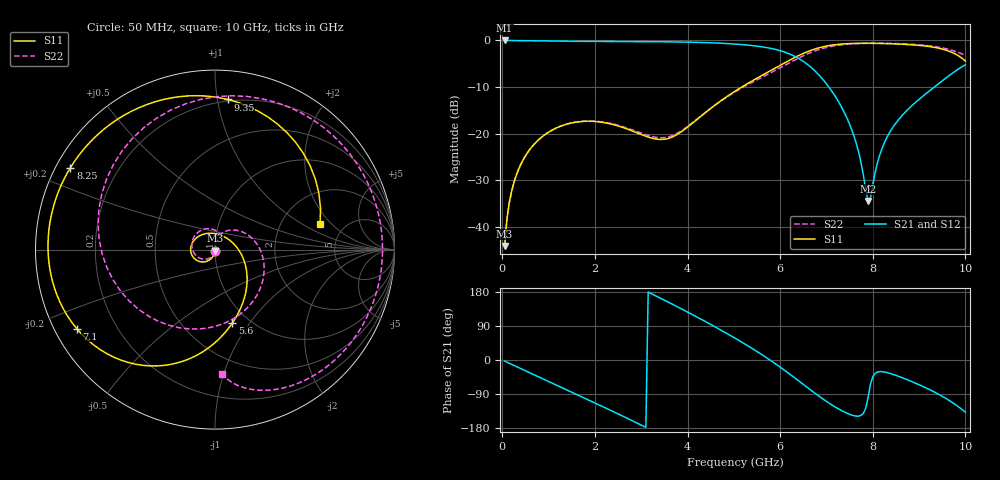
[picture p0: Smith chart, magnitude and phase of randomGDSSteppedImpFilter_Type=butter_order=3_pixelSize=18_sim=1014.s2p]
! freq	dB(S11)	phase(S11)	dB(S12)	phase(S12)
!  dB(S21)	phase(S21)	dB(S22)	phase(S22)
!S-par simulation data
#  GHz  S  DB  R 50
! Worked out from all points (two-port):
!   200 points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, 50 MHz to 10 GHz, reference 50 ohm
!   highest |S21| = -0.01 dB at 50 MHz (marker M1); lowest = -34.5 dB at 7.9 GHz (marker M2)
!   |S21| within 3 dB of the highest: start of sweep to 6.228 GHz
!   lowest |S11| = -44.2 dB at 50 MHz (marker M3), VSWR 1.01, Z = 50 - j0.62 ohm
!   |S11| at or under -10 dB: start of sweep to 5.171 GHz
!   |S22| runs from -44.2 to -0.6 dB; largest |S21 - S12| = 0
!   S11 on the Smith chart (normalised r, x): 50 MHz: 1.00, -0.01; 5.6 GHz: 0.84, -0.83; 7.1 GHz: 0.06, -0.26; 8.25 GHz: 0.04, +0.26; 9.35 GHz: 0.19, +1.07; 10 GHz: 3.32, +1.47
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0.05  -44.16 -90.8  -0.01 -2.9  -0.01 -2.9  -44.17 -91.3
0.2  -32.45 -99.0  -0.02 -11.4  -0.02 -11.4  -32.46 -102.5
0.5  -24.77 -114.4  -0.05 -28.4  -0.05 -28.4  -24.79 -123.2
1.15  -18.88 -145.9  -0.14 -65.2  -0.14 -65.2  -18.86 -166.1
1.75  -17.38 -174.8  -0.20 -99.1  -0.20 -99.1  -17.34 154.6
2.65  -18.84 136.7  -0.24 -151.0  -0.24 -151.0  -18.66 99.4
3.4  -21.26 72.6  -0.28 164.1  -0.28 164.1  -20.89 72.4
4.3  -16.18 -13.2  -0.44 107.2  -0.44 107.2  -16.14 44.2
5.05  -10.74 -53.6  -0.80 55.9  -0.80 55.9  -10.92 -16.5
5.6  -7.54 -76.6  -1.37 14.6  -1.37 14.6  -7.94 -76.3
6.1  -4.79 -97.1  -2.51 -27.5  -2.51 -27.5  -5.34 -142.1
6.4  -3.25 -111.4  -3.87 -55.1  -3.87 -55.1  -3.78 175.2
6.7  -2.01 -127.6  -6.07 -83.0  -6.07 -83.0  -2.44 133.3
7.1  -1.04 -150.3  -10.66 -117.3  -10.66 -117.3  -1.29 83.8
7.6  -0.64 -177.0  -20.71 -147.2  -20.71 -147.2  -0.71 35.4
7.9  -0.61 167.9  -34.48 -97.8  -34.48 -97.8  -0.61 12.5
8.25  -0.67 150.5  -21.98 -31.6  -21.98 -31.6  -0.61 -10.0
8.35  -0.70 145.5  -20.00 -34.5  -20.00 -34.5  -0.63 -15.8
8.9  -0.98 115.6  -13.50 -59.9  -13.50 -59.9  -0.86 -44.1
9.35  -1.52 85.2  -9.83 -85.8  -9.83 -85.8  -1.33 -64.2
9.65  -2.32 58.4  -7.55 -106.8  -7.55 -106.8  -1.95 -76.3
10  -4.41 13.5  -5.22 -137.6  -5.22 -137.6  -3.19 -86.7
